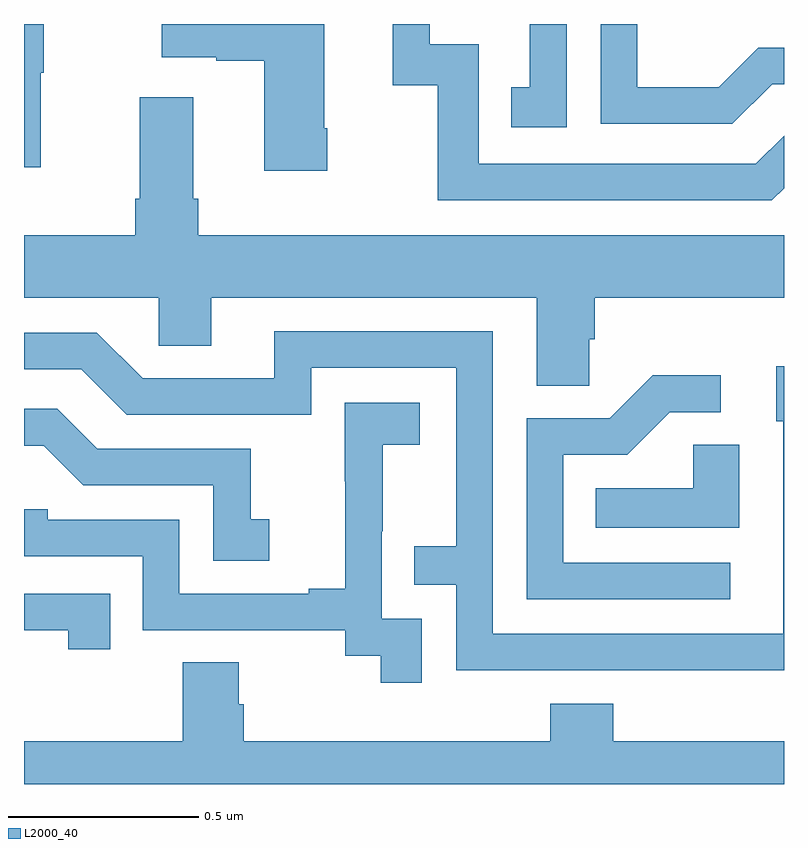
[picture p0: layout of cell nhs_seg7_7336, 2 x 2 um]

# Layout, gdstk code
import gdstk
lib = gdstk.Library(unit=1e-6, precision=1e-09)
def P(c, l, *ps):  # polygons
    for p in ps: c.add(gdstk.Polygon(p, *l))
L2000_40 = (2000, 40)

nhs_seg7_7336 = lib.new_cell('nhs_seg7_7336')
P(nhs_seg7_7336, L2000_40, [(210.798,1003.726),(210.79,1003.726),(210.79,1004),(210.363,1004),(210.363,1003.913),(210.506,1003.913),(210.506,1003.903),(210.632,1003.903),(210.632,1003.614),(210.798,1003.614)],
  [(211.428,1004),(211.331,1004),(211.331,1003.833),(211.282,1003.833),(211.282,1003.728),(211.428,1003.728)],
  [(210.044,1003.872),(210.052,1003.872),(210.052,1004),(210,1004),(210,1003.623),(210.044,1003.623)],
  [(211.969,1003.842),(212,1003.842),(212,1003.938),(211.932,1003.938),(211.828,1003.834),(211.614,1003.834),(211.614,1004),(211.518,1004),(211.518,1003.737),(211.864,1003.737)],
  [(212,1003.568),(212,1003.706),(211.926,1003.632),(211.197,1003.632),(211.197,1003.947),(211.068,1003.947),(211.068,1004),(210.971,1004),(210.971,1003.839),(211.089,1003.839),(211.089,1003.536),(211.968,1003.536)],
  [(211.488,1003.171),(211.502,1003.171),(211.502,1003.28),(212,1003.28),(212,1003.444),(210.458,1003.444),(210.458,1003.54),(210.445,1003.54),(210.445,1003.807),(210.305,1003.807),(210.305,1003.54),(210.293,1003.54),(210.293,1003.444),(210,1003.444),(210,1003.28),(210.354,1003.28),(210.354,1003.153),(210.493,1003.153),(210.493,1003.28),(211.349,1003.28),(211.349,1003.048),(211.488,1003.048)],
  [(212,1003.099),(211.979,1003.099),(211.979,1002.954),(211.998,1002.954),(211.998,1002.396),(211.233,1002.396),(211.233,1003.191),(210.659,1003.191),(210.659,1003.068),(210.312,1003.068),(210.192,1003.188),(210,1003.188),(210,1003.092),(210.15,1003.092),(210.27,1002.972),(210.756,1002.972),(210.756,1003.095),(211.137,1003.095),(211.137,1002.626),(211.027,1002.626),(211.027,1002.525),(211.137,1002.525),(211.137,1002.3),(211.633,1002.3),(211.633,1002.299),(212,1002.299)],
  [(211.858,1002.582),(211.419,1002.582),(211.419,1002.867),(211.588,1002.867),(211.699,1002.978),(211.834,1002.978),(211.834,1003.076),(211.655,1003.076),(211.542,1002.963),(211.323,1002.963),(211.323,1002.486),(211.858,1002.486)],
  [(211.047,1002.435),(210.942,1002.435),(210.942,1002.665),(210.944,1002.665),(210.944,1002.893),(211.042,1002.893),(211.042,1003.003),(210.844,1003.003),(210.844,1002.797),(210.845,1002.797),(210.845,1002.514),(210.749,1002.514),(210.749,1002.501),(210.408,1002.501),(210.408,1002.696),(210.063,1002.696),(210.063,1002.723),(210,1002.723),(210,1002.6),(210.312,1002.6),(210.312,1002.405),(210.846,1002.405),(210.846,1002.337),(210.939,1002.337),(210.939,1002.267),(211.047,1002.267)],
  [(210.646,1002.697),(210.597,1002.697),(210.597,1002.882),(210.193,1002.882),(210.088,1002.987),(210,1002.987),(210,1002.89),(210.052,1002.89),(210.156,1002.786),(210.498,1002.786),(210.498,1002.588),(210.646,1002.588)],
  [(211.882,1002.893),(211.761,1002.893),(211.761,1002.778),(211.504,1002.778),(211.504,1002.674),(211.882,1002.674)],
  [(210.227,1002.501),(210,1002.501),(210,1002.405),(210.116,1002.405),(210.116,1002.354),(210.227,1002.354)],
  [(212,1002.112),(211.55,1002.112),(211.55,1002.211),(211.385,1002.211),(211.385,1002.112),(210.578,1002.112),(210.578,1002.21),(210.565,1002.21),(210.565,1002.32),(210.418,1002.32),(210.418,1002.112),(210,1002.112),(210,1002),(212,1002)])

lib.write_gds('nhs_seg7_7336.gds')
